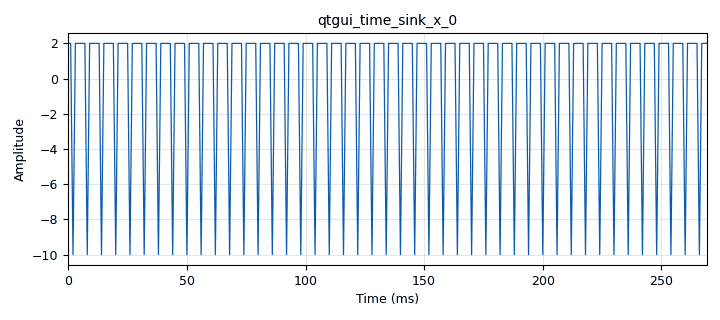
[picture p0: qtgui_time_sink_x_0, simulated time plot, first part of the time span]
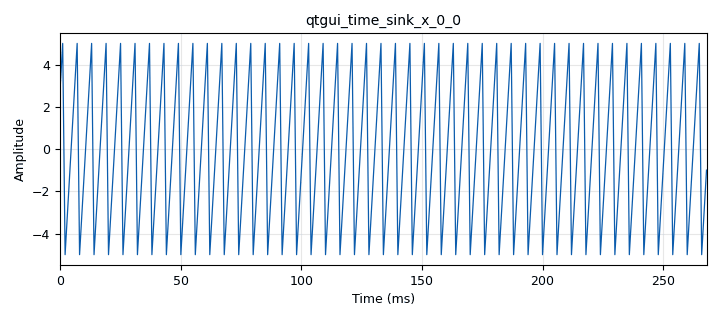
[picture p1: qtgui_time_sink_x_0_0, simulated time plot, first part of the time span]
options:
  parameters:
    generate_options: qt_gui
    id: PT_1
    output_language: python
    title: Not titled yet
  states: {}

blocks:
- name: samp_rate
  id: variable
  parameters:
    value: '32000'
  states: {}
- name: blocks_throttle2_0
  id: blocks_throttle2
  parameters:
    samples_per_second: samp_rate
    type: float
  states: {}
- name: blocks_vector_source_x_0
  id: blocks_vector_source_x
  parameters:
    repeat: 'True'
    type: float
    vector: (-5, -3, -1, 1, 3, 5)
  states: {}
- name: epy_block_1
  id: epy_block
  parameters:
    _source_code: |-
      import numpy as np
      from gnuradio import gr

      class blk(gr.sync_block):
          """
          Bloque diferenciador discreto
          y[n] = x[n] - x[n-1]
          """

          def __init__(self):
              gr.sync_block.__init__(
                  self,
                  name="Differentiator",
                  in_sig=[np.float32],
                  out_sig=[np.float32]
              )

              self.prev_sample = 0.0  # Guarda x[n-1]

          def work(self, input_items, output_items):
              x = input_items[0]
              y = output_items[0]

              for i in range(len(x)):
                  y[i] = x[i] - self.prev_sample
                  self.prev_sample = x[i]

              return len(y)
  states: {}
- name: qtgui_time_sink_x_0
  id: qtgui_time_sink_x
  parameters:
    autoscale: 'True'
    grid: 'True'
    size: '1024'
    srate: '1000'
    type: float
  states: {}
- name: qtgui_time_sink_x_0_0
  id: qtgui_time_sink_x
  parameters:
    autoscale: 'True'
    grid: 'True'
    size: '1024'
    srate: '1000'
    type: float
  states: {}

connections:
- [blocks_throttle2_0, '0', epy_block_1, '0']
- [blocks_vector_source_x_0, '0', blocks_throttle2_0, '0']
- [blocks_vector_source_x_0, '0', qtgui_time_sink_x_0_0, '0']
- [epy_block_1, '0', qtgui_time_sink_x_0, '0']

metadata:
  file_format: 1
  grc_version: v3.10.11.0-89-ga17f69e7
